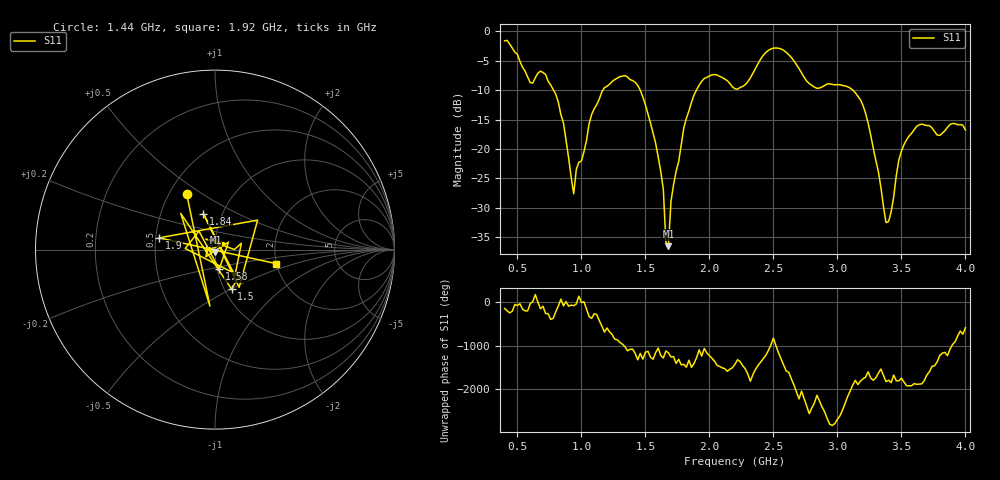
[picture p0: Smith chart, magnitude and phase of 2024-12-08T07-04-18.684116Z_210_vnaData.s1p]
!Created with skrf (http://scikit-rf.org).
# Hz S RI R 50.0
!freq ReS11 ImS11
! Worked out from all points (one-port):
!   181 points, 400 MHz to 4 GHz, reference 50 ohm
!   lowest |S11| = -36.5 dB at 1.68 GHz (marker M1), VSWR 1.03, Z = 50.2 - j1.48 ohm
!   |S11| at or under -10 dB: 782.1 MHz to 1.167 GHz (385.1 MHz wide, 39.5 % of centre); 1.46 GHz to 1.898 GHz (438.5 MHz wide, 26.1 % of centre); 3.121 GHz to end of sweep
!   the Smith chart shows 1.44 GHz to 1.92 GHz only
!   S11 on the Smith chart (normalised r, x): 1.44 GHz: 0.61, +0.43; 1.5 GHz: 1.08, -0.50; 1.58 GHz: 1.02, -0.23; 1.84 GHz: 0.81, +0.34; 1.9 GHz: 0.52, +0.08; 1.92 GHz: 1.99, -0.36
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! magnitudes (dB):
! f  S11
! 400 MHz  -1.6
! 600 MHz  -8.7
! 720 MHz  -7.3
! 860 MHz  -15.5
! 940 MHz  -27.6
! 1.08 GHz  -14.1
! 1.3 GHz  -7.7
! 1.44 GHz  -9.2
! 1.5 GHz  -12.5
! 1.58 GHz  -19.0
! 1.64 GHz  -26.8
! 1.66 GHz  -35.8
! 1.68 GHz  -36.5
! 1.7 GHz  -28.9
! 1.76 GHz  -22.1
! 1.84 GHz  -13.5
! 1.9 GHz  -9.9
! 1.92 GHz  -9.1
! 2.2 GHz  -9.8
! 2.48 GHz  -3.0
! 2.66 GHz  -5.0
! 2.84 GHz  -9.7
! 3.1 GHz  -9.6
! 3.22 GHz  -13.9
! 3.38 GHz  -32.5
! 3.48 GHz  -21.9
! 3.56 GHz  -17.8
! 4 GHz  -16.7
